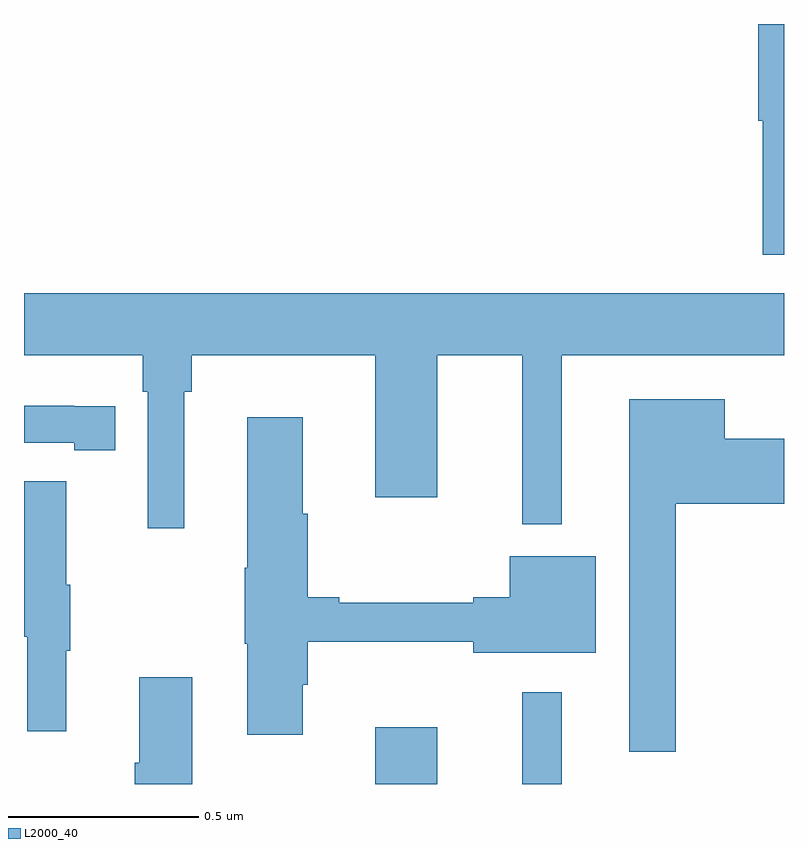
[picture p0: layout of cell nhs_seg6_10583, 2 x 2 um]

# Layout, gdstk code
import gdstk
lib = gdstk.Library(unit=1e-6, precision=1e-09)
def R(c, l, rs):  # rectangles x0, y0, x1, y1
    for r in rs: c.add(gdstk.rectangle(r[:2], r[2:], *l))
def P(c, l, *ps):  # polygons
    for p in ps: c.add(gdstk.Polygon(p, *l))
L2000_40 = (2000, 40)

nhs_seg6_10583 = lib.new_cell('nhs_seg6_10583')
R(nhs_seg6_10583, L2000_40, [(248.924,987.5,249.088,987.649), (249.311,987.5,249.415,987.742)])
P(nhs_seg6_10583, L2000_40, [(250,989.5),(249.932,989.5),(249.932,989.246),(249.944,989.246),(249.944,988.893),(250,988.893)],
  [(248.422,988.532),(248.441,988.532),(248.441,988.628),(248.924,988.628),(248.924,988.254),(249.088,988.254),(249.088,988.628),(249.311,988.628),(249.311,988.184),(249.415,988.184),(249.415,988.628),(250,988.628),(250,988.792),(248,988.792),(248,988.628),(248.312,988.628),(248.312,988.532),(248.325,988.532),(248.325,988.173),(248.422,988.173)],
  [(249.715,988.238),(250,988.238),(250,988.408),(249.844,988.408),(249.844,988.513),(249.593,988.513),(249.593,987.585),(249.715,987.585)],
  [(248.24,988.494),(248.132,988.494),(248.132,988.495),(248,988.495),(248,988.398),(248.132,988.398),(248.132,988.378),(248.24,988.378)],
  [(248.734,987.761),(248.747,987.761),(248.747,987.874),(249.182,987.874),(249.182,987.845),(249.505,987.845),(249.505,988.099),(249.278,988.099),(249.278,987.992),(249.182,987.992),(249.182,987.977),(248.83,987.977),(248.83,987.992),(248.747,987.992),(248.747,988.211),(248.734,988.211),(248.734,988.465),(248.588,988.465),(248.588,988.069),(248.581,988.069),(248.581,987.869),(248.588,987.869),(248.588,987.63),(248.734,987.63)],
  [(248.111,987.851),(248.122,987.851),(248.122,988.025),(248.111,988.025),(248.111,988.297),(248,988.297),(248,988.102),(248.001,988.102),(248.001,987.888),(248.008,987.888),(248.008,987.639),(248.111,987.639)],
  [(248.443,987.781),(248.303,987.781),(248.303,987.556),(248.291,987.556),(248.291,987.5),(248.443,987.5)])

lib.write_gds('nhs_seg6_10583.gds')
